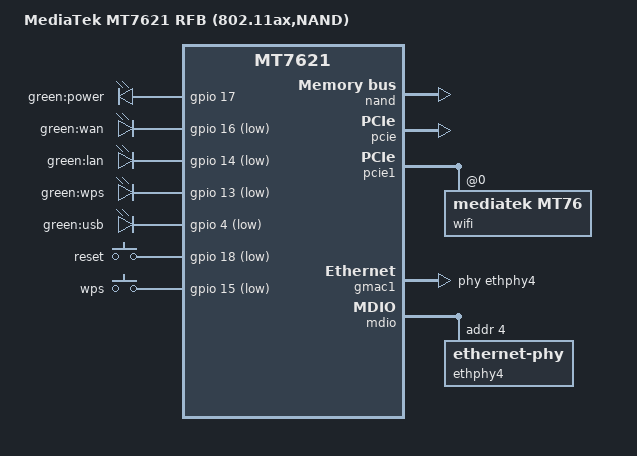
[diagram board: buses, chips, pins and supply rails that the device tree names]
// SPDX-License-Identifier: GPL-2.0-or-later OR MIT

#include "mt7621.dtsi"

#include <dt-bindings/gpio/gpio.h>
#include <dt-bindings/input/input.h>
#include <dt-bindings/leds/common.h>

/ {
	compatible = "mediatek,mt7621-rfb-ax-nand", "mediatek,mt7621-soc";
	model = "MediaTek MT7621 RFB (802.11ax,NAND)";

	aliases {
		led-boot = &led_power;
		led-failsafe = &led_power;
		led-running = &led_power;
		led-upgrade = &led_power;
	};

	chosen {
		bootargs = "console=ttyS0,115200";
		bootargs-override = "console=ttyS0,115200";
	};

	leds {
		compatible = "gpio-leds";

		led_power: power {
			label = "green:power";
			gpios = <&gpio 17 GPIO_ACTIVE_HIGH>;
		};

		wan {
			label = "green:wan";
			gpios = <&gpio 16 GPIO_ACTIVE_LOW>;
		};

		lan {
			label = "green:lan";
			gpios = <&gpio 14 GPIO_ACTIVE_LOW>;
		};

		wps {
			label = "green:wps";
			gpios = <&gpio 13 GPIO_ACTIVE_LOW>;
		};

		led_usb {
			label = "green:usb";
			gpios = <&gpio 4 GPIO_ACTIVE_LOW>;
			trigger-sources = <&ehci_port2>;
			linux,default-trigger = "usbport";
		};
	};

	keys {
		compatible = "gpio-keys";

		key-restart {
			label = "reset";
			gpios = <&gpio 18 GPIO_ACTIVE_LOW>;
			linux,code = <KEY_RESTART>;
		};

		key-wps {
			label = "wps";
			gpios = <&gpio 15 GPIO_ACTIVE_LOW>;
			linux,code = <KEY_WPS_BUTTON>;
		};
	};
};

&nand {
	status = "okay";

	mediatek,nmbm;
	mediatek,bmt-remap-range =
		<0x000000 0x580000>,
		<0x3380000 0x7800000>;

	partitions {
		compatible = "fixed-partitions";
		#address-cells = <1>;
		#size-cells = <1>;

		partition@0 {
			label = "u-boot";
			reg = <0x0 0x80000>;
			read-only;
		};

		partition@80000 {
			label = "u-boot-env";
			reg = <0x80000 0x80000>;
		};

		factory: partition@100000 {
			label = "factory";
			reg = <0x100000 0x80000>;
			read-only;

			compatible = "nvmem-cells";
			#address-cells = <1>;
			#size-cells = <1>;

			macaddr_factory_4: macaddr@4 {
				reg = <0x4 0x6>;
			};
		};

		partition@180000 {
			label = "firmware";
			reg = <0x180000 0x7680000>;
			compatible = "fixed-partitions";
			#address-cells = <1>;
			#size-cells = <1>;

			partition@0 {
				label = "kernel";
				reg = <0x0 0x400000>;
			};

			partition@400000 {
				label = "ubi";
				reg = <0x400000 0x7280000>;
			};
		};

		/* Last 8M (@ 0x7800000) are reserved for NMBM management (bad blocks) */
	};
};

&pcie {
	status = "okay";
};

&pcie1 {
	wifi@0,0 {
		compatible = "mediatek,mt76";
		reg = <0x0000 0 0 0 0>;
		mediatek,mtd-eeprom = <&factory 0x0000>;
		mediatek,disable-radar-background;
	};
};

&gmac0 {
	nvmem-cells = <&macaddr_factory_4>;
	nvmem-cell-names = "mac-address";
	mac-address-increment = <(-1)>;
};

&gmac1 {
	status = "okay";
	label = "wan";
	phy-handle = <&ethphy4>;

	nvmem-cells = <&macaddr_factory_4>;
	nvmem-cell-names = "mac-address";
};

&mdio {
	ethphy4: ethernet-phy@4 {
		reg = <4>;
	};
};

&switch0 {
	ports {
		port@0 {
			status = "okay";
			label = "lan4";
		};

		port@1 {
			status = "okay";
			label = "lan3";
		};

		port@2 {
			status = "okay";
			label = "lan2";
		};

		port@3 {
			status = "okay";
			label = "lan1";
		};
	};
};

&state_default {
	gpio {
		groups = "i2c", "uart2", "uart3", "jtag", "wdt";
		function = "gpio";
	};
};
